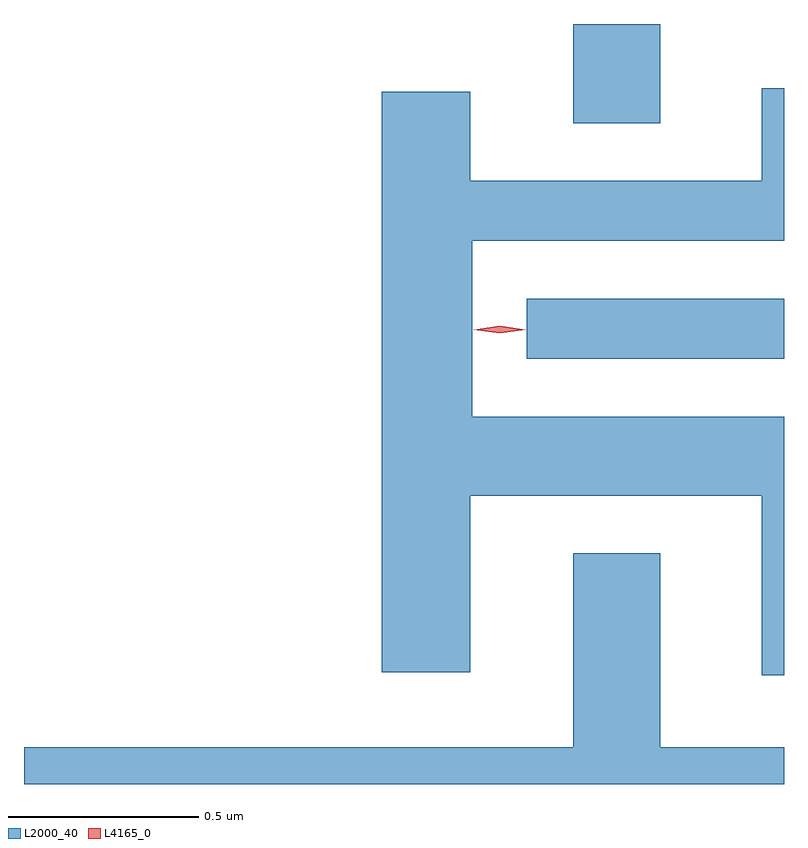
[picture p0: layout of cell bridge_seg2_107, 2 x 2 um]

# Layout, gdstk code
import gdstk
lib = gdstk.Library(unit=1e-6, precision=1e-09)
def R(c, l, rs):  # rectangles x0, y0, x1, y1
    for r in rs: c.add(gdstk.rectangle(r[:2], r[2:], *l))
def P(c, l, *ps):  # polygons
    for p in ps: c.add(gdstk.Polygon(p, *l))
L2000_40 = (2000, 40)
L4165_0 = (4165, 0)

bridge_seg2_107 = lib.new_cell('bridge_seg2_107')
R(bridge_seg2_107, L2000_40, [(881.678,1076.246,882.355,1076.404), (881.801,1076.866,882.029,1077.127)])
P(bridge_seg2_107, L2000_40, [(882.355,1076.094),(881.534,1076.094),(881.534,1076.556),(882.355,1076.556),(882.355,1076.958),(882.296,1076.958),(882.296,1076.714),(881.529,1076.714),(881.529,1076.949),(881.296,1076.949),(881.296,1075.421),(881.529,1075.421),(881.529,1075.886),(882.296,1075.886),(882.296,1075.413),(882.355,1075.413)],
  [(882.355,1075.224),(882.029,1075.224),(882.029,1075.734),(881.801,1075.734),(881.801,1075.224),(880.355,1075.224),(880.355,1075.127),(882.355,1075.127)])
P(bridge_seg2_107, L4165_0, [(881.607,1076.313),(881.538,1076.322),(881.537,1076.323),(881.538,1076.323),(881.607,1076.333),(881.676,1076.323),(881.676,1076.323),(881.676,1076.322)],
  [(881.607,1076.313),(881.541,1076.322),(881.54,1076.323),(881.541,1076.323),(881.607,1076.333),(881.672,1076.323),(881.673,1076.323),(881.672,1076.322)])

lib.write_gds('bridge_seg2_107.gds')
